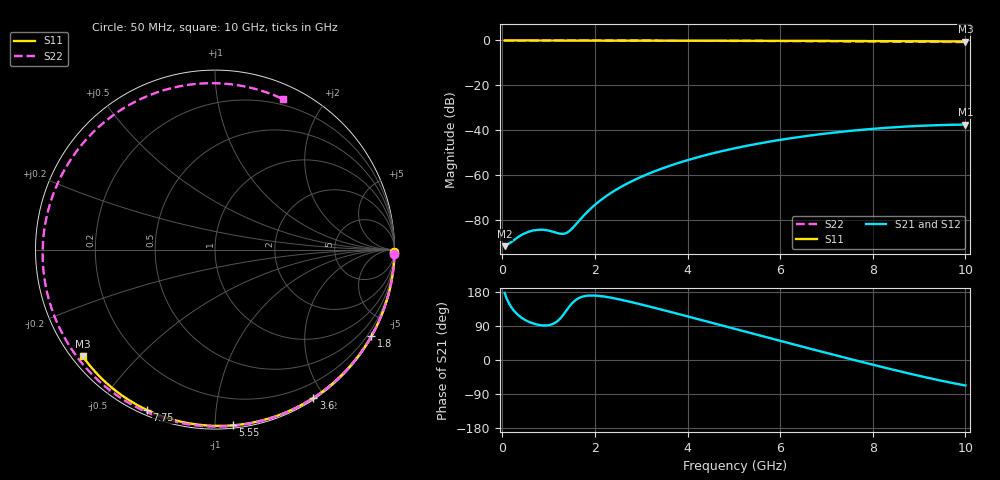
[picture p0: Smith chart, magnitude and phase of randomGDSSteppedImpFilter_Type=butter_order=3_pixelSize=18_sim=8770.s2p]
! freq	dB(S11)	phase(S11)	dB(S12)	phase(S12)
!  dB(S21)	phase(S21)	dB(S22)	phase(S22)
!S-par simulation data
#  GHz  S  DB  R 50
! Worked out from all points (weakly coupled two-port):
!   200 points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, 50 MHz to 10 GHz, reference 50 ohm
!   highest |S21| = -37.42 dB at 10 GHz (marker M1); lowest = -91.5 dB at 50 MHz (marker M2)
!   lowest |S11| = -0.5 dB at 10 GHz (marker M3), VSWR 36.62, Z = 1.54 - j17.7 ohm
!   |S11| at or under -10 dB: nowhere
!   |S22| runs from -0.7 to 0.0 dB; largest |S21 - S12| = 0
!   S11 on the Smith chart (normalised r, x): 50 MHz: open; 1.8 GHz: 0.03, -3.88; 3.6 GHz: 0.02, -1.86; 5.55 GHz: 0.02, -1.11; 7.75 GHz: 0.02, -0.66; 10 GHz: 0.03, -0.35
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0.05  -0.00 -0.8  -91.50 177.2  -91.50 177.2  -0.00 -1.4
0.8  -0.01 -13.0  -84.20 92.4  -84.20 92.4  -0.02 -22.3
1.65  -0.03 -26.6  -80.38 163.2  -80.38 163.2  -0.06 -45.4
1.75  -0.04 -28.1  -78.09 167.7  -78.09 167.7  -0.06 -48.1
1.8  -0.04 -28.9  -77.00 169.0  -77.00 169.0  -0.06 -49.5
2.1  -0.04 -33.6  -71.43 169.0  -71.43 169.0  -0.07 -57.5
2.45  -0.05 -39.1  -66.49 161.9  -66.49 161.9  -0.08 -66.7
2.9  -0.06 -46.0  -61.59 149.5  -61.59 149.5  -0.10 -78.3
3.4  -0.07 -53.5  -57.33 134.2  -57.33 134.2  -0.12 -91.1
3.6  -0.08 -56.5  -55.86 127.9  -55.86 127.9  -0.13 -96.2
4.3  -0.09 -66.7  -51.50 105.5  -51.50 105.5  -0.16 -113.9
5.05  -0.12 -77.3  -47.82 81.2  -47.82 81.2  -0.21 -132.8
5.55  -0.14 -84.2  -45.80 65.0  -45.80 65.0  -0.24 -145.6
6.15  -0.16 -92.3  -43.73 45.7  -43.73 45.7  -0.29 -161.4
6.7  -0.19 -99.5  -42.14 28.1  -42.14 28.1  -0.34 -176.6
7.25  -0.23 -106.6  -40.79 10.8  -40.79 10.8  -0.40 167.2
7.75  -0.26 -113.0  -39.76 -4.7  -39.76 -4.7  -0.46 151.5
8.35  -0.31 -120.5  -38.77 -23.0  -38.77 -23.0  -0.53 131.1
8.8  -0.35 -126.1  -38.20 -36.1  -38.20 -36.1  -0.58 114.6
9.2  -0.39 -131.1  -37.82 -47.3  -37.82 -47.3  -0.63 99.0
9.6  -0.43 -136.0  -37.56 -57.7  -37.56 -57.7  -0.68 82.6
10  -0.47 -141.1  -37.42 -67.2  -37.42 -67.2  -0.72 65.7
